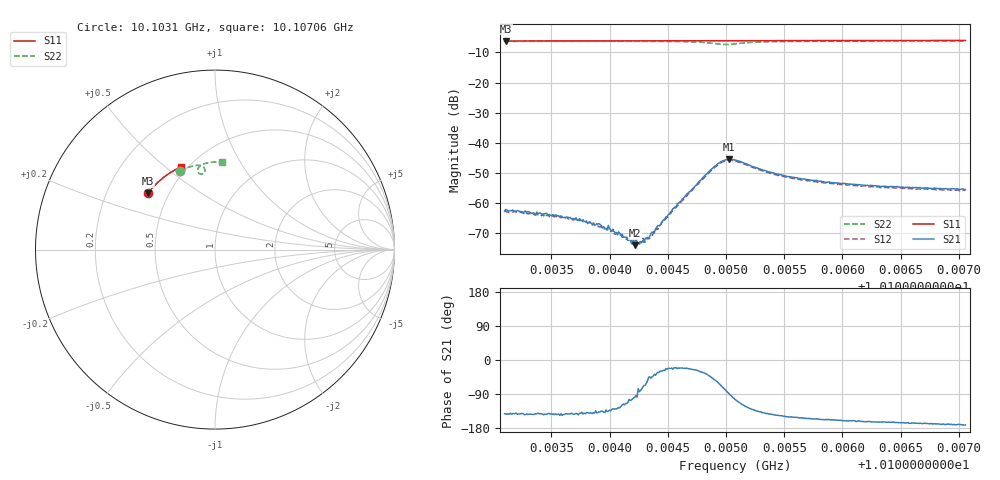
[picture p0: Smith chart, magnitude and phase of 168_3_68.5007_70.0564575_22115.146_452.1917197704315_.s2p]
#  HZ  S  RI  R  50.00
! Rohde & Schwarz Vector Network Analyzer
! Rohde-Schwarz,ZNB20-2Port,1311601062101988,3.16
! Created: UTC 3/20/2024, 5:11:14 PM
! freq[Hz]  re:S11  im:S11  re:S21  im:S21  re:S12  im:S12  re:S22  im:S22
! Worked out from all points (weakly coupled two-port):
!   401 points, 10.1031 GHz to 10.10706 GHz, reference 50 ohm
!   highest |S21| = -45.41 dB at 10.10503 GHz (marker M1); lowest = -74.0 dB at 10.10422 GHz (marker M2)
!   lowest |S11| = -6.2 dB at 10.10311 GHz (marker M3), VSWR 2.91, Z = 19.2 + j15.8 ohm
!   |S11| at or under -10 dB: nowhere
!   |S22| runs from -7.4 to -6.2 dB; largest |S21 - S12| = 0.00056
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1.0103098e10  -0.3744 0.3133  -0.000587 -0.00046  -0.00053 -0.000502  -0.1941 0.4395
1.0103108e10  -0.374 0.3138  -0.000623 -0.000484  -0.000534 -0.000515  -0.1934 0.4399
1.0103445e10  -0.3612 0.3299  -0.000532 -0.000406  -0.000479 -0.000464  -0.1729 0.4491
1.0103761e10  -0.3488 0.3444  -0.000387 -0.000346  -0.000377 -0.000354  -0.1527 0.4573
1.0103909e10  -0.3425 0.3511  -0.000338 -0.000313  -0.000271 -0.0003  -0.1428 0.4605
1.0103959e10  -0.3403 0.3532  -0.000287 -0.000249  -0.000261 -0.000273  -0.1394 0.4617
1.0104008e10  -0.3384 0.3554  -0.000249 -0.000259  -0.000199 -0.000279  -0.1361 0.4627
1.0104127e10  -0.3333 0.3607  -0.000132 -0.000243  -0.000117 -0.000247  -0.1273 0.4649
1.0104177e10  -0.3312 0.3629  -7.13e-05 -0.000236  -5.7e-05 -0.000247  -0.1237 0.466
1.0104216e10  -0.3295 0.3644  -2.93e-05 -0.000198  -9.59e-06 -0.000194  -0.1207 0.4667
1.0104276e10  -0.3269 0.367  5.42e-05 -0.000218  9.32e-05 -0.000203  -0.1161 0.4675
1.0104325e10  -0.3248 0.3691  0.000153 -0.000223  0.000167 -0.000213  -0.112 0.4684
1.0104424e10  -0.3204 0.3733  0.000352 -0.000231  0.00037 -0.000193  -0.1035 0.4694
1.0104562e10  -0.3143 0.3789  0.000815 -0.000303  0.000801 -0.000248  -0.0903 0.4698
1.0104869e10  -0.3001 0.391  0.00255 -0.00252  0.00267 -0.00216  -0.0562 0.4459
1.0104958e10  -0.2958 0.3941  0.00182 -0.00454  0.00218 -0.00415  -0.0627 0.4259
1.0105027e10  -0.2929 0.3968  4.07e-05 -0.00536  0.000512 -0.0051  -0.0805 0.4212
1.0105077e10  -0.2906 0.3986  -0.00125 -0.00505  -0.000732 -0.00495  -0.0913 0.4275
1.0105433e10  -0.2734 0.4119  -0.00253 -0.0017  -0.00225 -0.00189  -0.0766 0.4713
1.010574e10  -0.2583 0.4225  -0.00218 -0.000994  -0.002 -0.00114  -0.0516 0.4809
1.0106403e10  -0.224 0.4434  -0.00182 -0.000506  -0.00168 -0.000638  -0.0044 0.4876
1.0107056e10  -0.1886 0.4611  -0.00167 -0.000256  -0.00157 -0.000389  0.0389 0.4882
